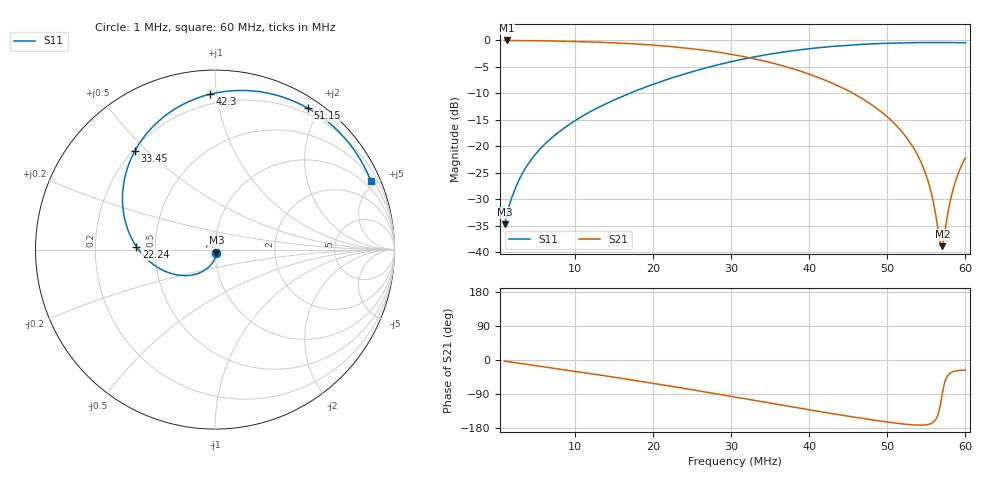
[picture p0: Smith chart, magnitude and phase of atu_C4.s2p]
! S11/S21 from S-A-A-2 VNA
! Written 2026-11-14 07:44:32 by the saav2 MCP server
! S12 and S22 were not measured (1.5-port VNA) and are written as 0
# HZ S RI R 50
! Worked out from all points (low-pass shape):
!   201 points, 1 MHz to 60 MHz, reference 50 ohm
!   highest |S21| = -0.03 dB at 1.295 MHz (marker M1); lowest = -38.8 dB at 57.05 MHz (marker M2)
!   |S21| within 3 dB of the highest: start of sweep to 31.44 MHz
!   lowest |S11| = -34.7 dB at 1 MHz (marker M3), VSWR 1.04, Z = 50.7 - j1.7 ohm
!   |S11| at or under -10 dB: start of sweep to 16.99 MHz
!   S12 and S22 are empty: the file has one direction only
!   S11 on the Smith chart (normalised r, x): 1 MHz: 1.01, -0.03; 22.24 MHz: 0.39, +0.02; 33.45 MHz: 0.21, +0.46; 42.3 MHz: 0.14, +0.96; 51.15 MHz: 0.13, +1.85; 60 MHz: 0.61, +4.65
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1000000  0.00772 -0.0168  0.9953 -0.0515  0 0  0 0
1295000  0.00712 -0.0217  0.9945 -0.0668  0 0  0 0
2770000  0.000139 -0.0469  0.9839 -0.1422  0 0  0 0
4540000  -0.0153 -0.0757  0.9635 -0.2308  0 0  0 0
1.103e7  -0.1319 -0.1425  0.8136 -0.5275  0 0  0 0
1.6045e7  -0.2677 -0.1251  0.62 -0.7045  0 0  0 0
2.0765e7  -0.401 -0.0304  0.3907 -0.8023  0 0  0 0
2.224e7  -0.4374 0.0159  0.3131 -0.8158  0 0  0 0
3.05e7  -0.5036 0.395  -0.0981 -0.7203  0 0  0 0
3.345e7  -0.4464 0.5494  -0.2061 -0.6243  0 0  0 0
4.053e7  -0.1316 0.8313  -0.3182 -0.338  0 0  0 0
4.23e7  -0.0252 0.8664  -0.3133 -0.269  0 0  0 0
4.643e7  0.2366 0.8814  -0.2606 -0.1331  0 0  0 0
5.0265e7  0.4686 0.8132  -0.1755 -0.0493  0 0  0 0
5.115e7  0.5183 0.7876  -0.1532 -0.0362  0 0  0 0
5.3215e7  0.6249 0.7156  -0.0994 -0.0157  0 0  0 0
5.469e7  0.6924 0.6544  -0.0604 -0.00892  0 0  0 0
5.5575e7  0.7291 0.6142  -0.0371 -0.00793  0 0  0 0
5.6755e7  0.7735 0.5572  -0.00688 -0.0103  0 0  0 0
5.705e7  0.784 0.5421  0.000458 -0.0114  0 0  0 0
5.823e7  0.8216 0.4805  0.0292 -0.0185  0 0  0 0
6e7  0.8671 0.3836  0.0697 -0.0356  0 0  0 0
